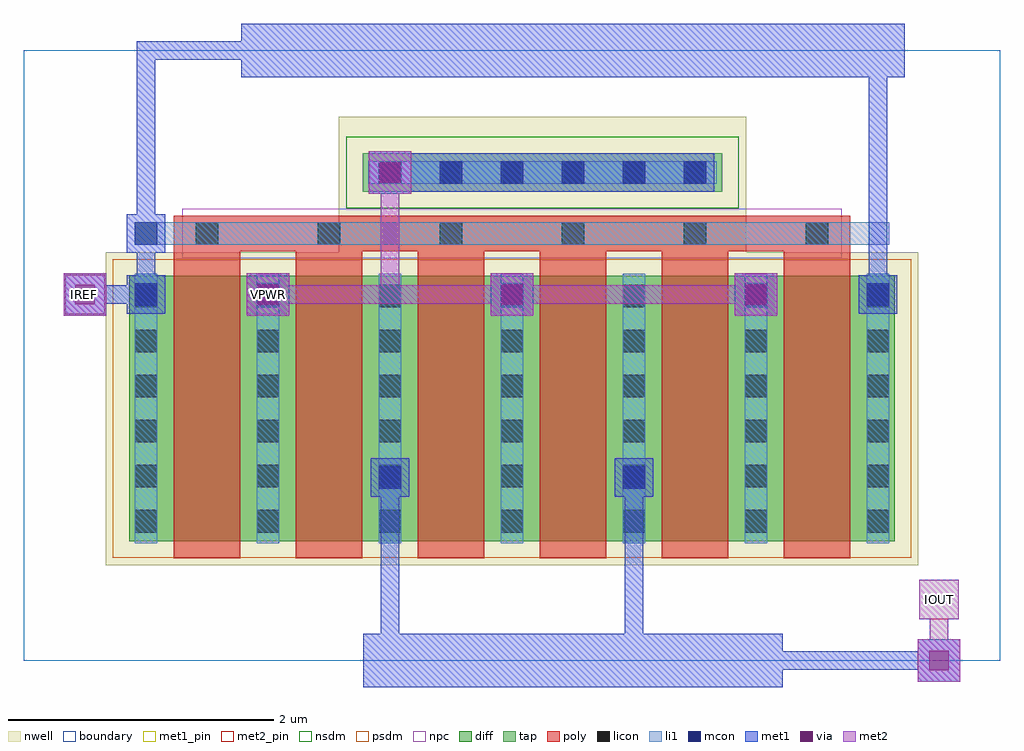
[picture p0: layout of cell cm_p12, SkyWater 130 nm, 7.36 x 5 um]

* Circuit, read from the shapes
.subckt cm_p12 IOUT IREF VPWR
XM1 VPWR IREF IREF VPWR sky130_fd_pr__pfet_01v8 w=2 l=0.5 m=2
XM2 IOUT IREF VPWR VPWR sky130_fd_pr__pfet_01v8 w=2 l=0.5 m=4
.ends

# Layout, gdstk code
import gdstk
lib = gdstk.Library(unit=1e-6, precision=1e-09)
def R(c, l, rs):  # rectangles x0, y0, x1, y1
    for r in rs: c.add(gdstk.rectangle(r[:2], r[2:], *l))
def A(c, l, x, y, w, h, nx, ny, dx, dy):  # array of equal rectangles
    R(c, l, [(x+i*dx, y+j*dy, x+i*dx+w, y+j*dy+h) for i in range(nx) for j in range(ny)])
nwell = (64, 20)
diff = (65, 20)
tap = (65, 44)
poly = (66, 20)
licon = (66, 44)
li1 = (67, 20)
mcon = (67, 44)
met1_pin = (68, 16)
met1 = (68, 20)
via = (68, 44)
met2_pin = (69, 16)
met2 = (69, 20)
nsdm = (93, 44)
psdm = (94, 20)
npc = (95, 20)
boundary = (235, 4)

cm_p12 = lib.new_cell('cm_p12')
R(cm_p12, nwell, [(0.615,0.72,6.745,3.08), (2.375,3.08,5.445,4.1)])
R(cm_p12, diff, [(0.795,0.9,6.565,2.9)])
R(cm_p12, tap, [(2.555,3.535,5.265,3.825)])
A(cm_p12, poly, 1.13, 0.77, 0.5, 2.45, 6, 1, 0.92, 0)
R(cm_p12, poly, [(1.13,3.085,6.23,3.355)])
A(cm_p12, licon, 0.835, 0.965, 0.17, 0.17, 7, 6, 0.92, 0.34)
A(cm_p12, licon, 1.295, 3.135, 0.17, 0.17, 6, 1, 0.92, 0)
A(cm_p12, licon, 2.675, 3.595, 0.17, 0.17, 6, 1, 0.46, 0)
A(cm_p12, li1, 0.835, 0.885, 0.17, 2.03, 7, 1, 0.92, 0)
R(cm_p12, li1, [(0.835,3.135,6.525,3.305), (2.595,3.595,5.225,3.765)])
A(cm_p12, mcon, 1.755, 2.675, 0.17, 0.17, 3, 1, 1.84, 0)
A(cm_p12, mcon, 2.675, 3.595, 0.17, 0.17, 6, 1, 0.46, 0)
R(cm_p12, mcon, [(2.675,1.295,2.845,1.465), (4.515,1.295,4.685,1.465), (0.835,2.675,1.005,2.845), (6.355,2.675,6.525,2.845), (0.835,3.135,1.005,3.305)])
R(cm_p12, met1_pin, [(1.695,2.615,1.985,2.905)])
A(cm_p12, met1, 1.68, 2.6, 0.32, 0.32, 3, 1, 1.84, 0)
A(cm_p12, met1, 1.695, 2.615, 0.29, 0.29, 3, 1, 1.84, 0)
R(cm_p12, met1, [(2.56,-0.2,4.8,0.2), (4.4,-0.2,5.72,0.2), (6.74,-0.16,7.06,0.16), (2.69,-0.07,2.83,1.45), (4.53,-0.07,4.67,1.45), (5.45,-0.07,6.97,0.07), (2.615,1.235,2.905,1.525), (4.455,1.235,4.745,1.525), (0.3,2.6,0.62,2.92), (0.775,2.615,1.065,2.905), (6.295,2.615,6.585,2.905), (0.39,2.69,0.99,2.83), (0.85,2.69,0.99,3.29), (6.37,2.69,6.51,4.67), (0.775,3.075,1.065,3.365), (0.85,3.15,0.99,4.67), (2.6,3.52,2.92,3.84), (2.615,3.535,5.205,3.825), (2.69,3.61,2.83,3.75), (1.64,4.4,6.64,4.8), (0.85,4.53,1.91,4.67)])
A(cm_p12, via, 1.765, 2.685, 0.15, 0.15, 3, 1, 1.84, 0)
R(cm_p12, via, [(6.825,-0.075,6.975,0.075), (0.385,2.685,0.535,2.835), (2.685,3.605,2.835,3.755)])
R(cm_p12, met2_pin, [(6.75,0.31,7.05,0.61), (0.31,2.61,0.61,2.91)])
A(cm_p12, met2, 1.68, 2.6, 0.32, 0.32, 3, 1, 1.84, 0)
R(cm_p12, met2, [(6.74,-0.16,7.06,0.16), (6.83,-0.07,6.97,0.53), (6.75,0.31,7.05,0.61), (6.83,0.39,6.97,0.53), (0.3,2.6,0.62,2.92), (0.31,2.61,0.61,2.91), (0.39,2.69,0.53,2.83), (1.77,2.69,2.83,2.83), (2.69,2.69,3.75,2.83), (2.69,2.69,2.83,3.75), (3.61,2.69,5.59,2.83), (2.6,3.52,2.92,3.84)])
R(cm_p12, nsdm, [(2.43,3.41,5.39,3.95)])
R(cm_p12, psdm, [(0.67,0.775,6.69,3.025)])
R(cm_p12, npc, [(1.195,3.035,6.165,3.405)])
R(cm_p12, boundary, [(0,0,7.36,4.6)])
cm_p12.add(gdstk.Label('VPWR', (1.84,2.76), layer=68, texttype=5))
cm_p12.add(gdstk.Label('IREF', (0.46,2.76), layer=69, texttype=5))
cm_p12.add(gdstk.Label('IOUT', (6.9,0.46), layer=69, texttype=5))
cm_p12.add(gdstk.Label('VPWR', (1.84,2.76), layer=68, texttype=16))
cm_p12.add(gdstk.Label('IREF', (0.46,2.76), layer=69, texttype=16))
cm_p12.add(gdstk.Label('IOUT', (6.9,0.46), layer=69, texttype=16))

lib.write_gds('cm_p12.gds')
